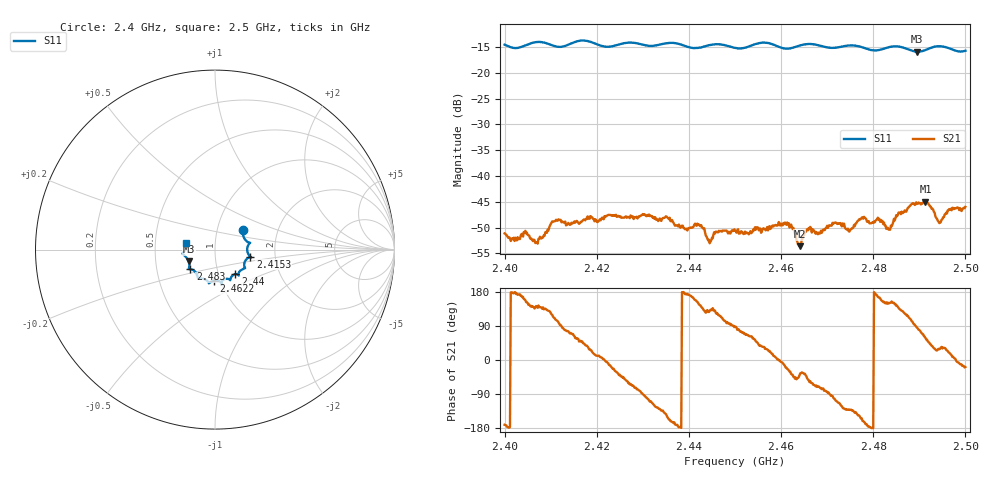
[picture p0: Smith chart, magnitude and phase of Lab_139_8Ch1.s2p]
# Hz S RI R 50
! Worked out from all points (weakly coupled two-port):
!   601 points, 2.4 GHz to 2.5 GHz, reference 50 ohm
!   highest |S21| = -44.97 dB at 2.4913 GHz (marker M1); lowest = -53.6 dB at 2.464 GHz (marker M2)
!   lowest |S11| = -15.9 dB at 2.4895 GHz (marker M3), VSWR 1.38, Z = 36.9 - j5 ohm
!   |S11| at or under -10 dB: start of sweep to end of sweep
!   S12 and S22 are empty: the file has one direction only
!   S11 on the Smith chart (normalised r, x): 2.4 GHz: 1.33, +0.29; 2.4153 GHz: 1.48, -0.12; 2.44 GHz: 1.20, -0.34; 2.4622 GHz: 0.93, -0.33; 2.483 GHz: 0.74, -0.17; 2.5 GHz: 0.72, +0.06
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2.4e9  0.1552 0.1065  -0.00274 -0.000433  0 0  0 0
2.406667e9  0.1952 0.0381  -0.00167 0.00148  0 0  0 0
2.410833e9  0.1817 0.0159  -0.00129 0.00339  0 0  0 0
2.415333e9  0.1964 -0.0389  0.00189 0.00299  0 0  0 0
2.416667e9  0.2019 -0.0429  0.0024 0.00266  0 0  0 0
2.433333e9  0.131 -0.1336  -0.0022 -0.00292  0 0  0 0
2.44e9  0.1137 -0.1366  -0.0031 0.000453  0 0  0 0
2.442333e9  0.0933 -0.1492  -0.00269 0.0019  0 0  0 0
2.4445e9  0.0849 -0.166  -0.00141 0.00172  0 0  0 0
2.45e9  0.0647 -0.1628  9.01e-05 0.00296  0 0  0 0
2.462167e9  -0.00736 -0.1739  0.00272 -0.00202  0 0  0 0
2.464e9  -0.0269 -0.1824  0.0016 -0.00133  0 0  0 0
2.466667e9  -0.0342 -0.1875  0.00138 -0.00247  0 0  0 0
2.471667e9  -0.0661 -0.1624  -0.000812 -0.00342  0 0  0 0
2.474833e9  -0.0916 -0.1606  -0.00192 -0.00215  0 0  0 0
2.477833e9  -0.0987 -0.1461  -0.00365 -0.00124  0 0  0 0
2.483e9  -0.1376 -0.1094  -0.00269 0.00164  0 0  0 0
2.483333e9  -0.1402 -0.1092  -0.00258 0.00155  0 0  0 0
2.4895e9  -0.1466 -0.066  0.000409 0.00539  0 0  0 0
2.491333e9  -0.1617 -0.0417  0.00298 0.00479  0 0  0 0
2.494333e9  -0.1806 -0.0218  0.00308 0.00165  0 0  0 0
2.5e9  -0.1597 0.0394  0.00476 -0.0016  0 0  0 0
